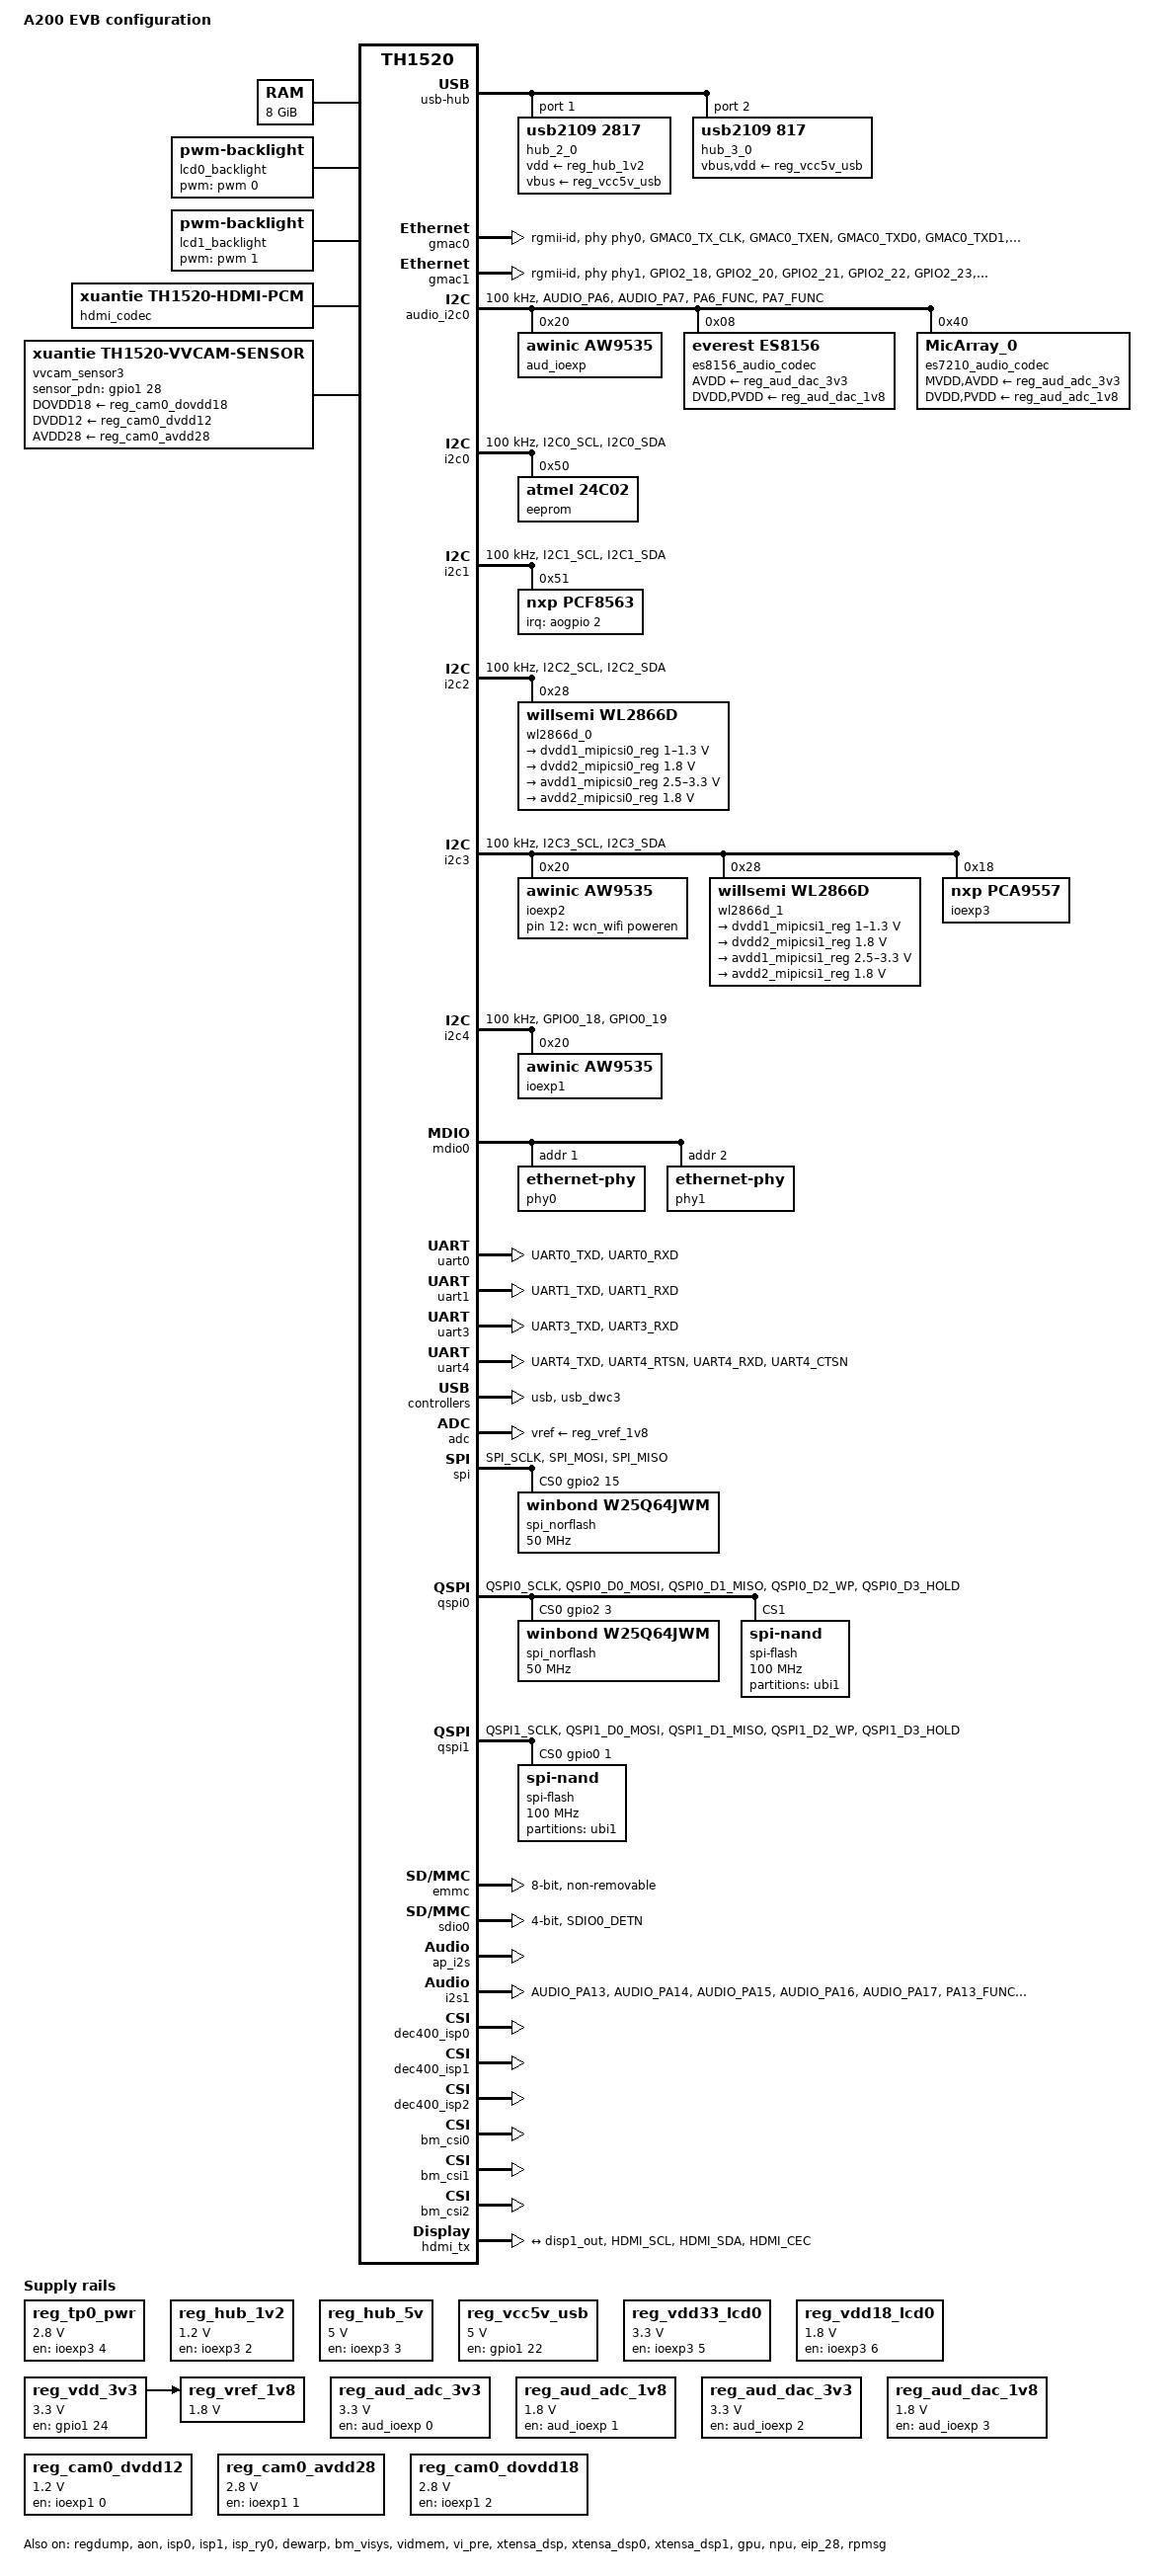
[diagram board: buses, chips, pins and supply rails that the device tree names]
/dts-v1/;

#include "th1520.dtsi"
#include <dt-bindings/gpio/gpio.h>
#include <dt-bindings/input/linux-event-codes.h>

/ {
	model = "A200 EVB configuration";
	compatible = "sipeed,lichee-pi-4a", "sipeed,lichee-module-4a", "thead,th1520", "thead,light", "zhihe,a200-evb";

	aliases {
		vivcam3 = &vvcam_sensor3;
		viv_video2 =  &video2;
		viv_video3 =  &video3;
	};

	chosen {
		stdout-path = "serial0:115200n8";
	};

	memory@0 {
		device_type = "memory";
		reg = <0x0 0x200000 0x1 0xffe00000>;
	};

	lcd0_backlight: pwm-backlight@0 {
		compatible = "pwm-backlight";
		pinctrl-names = "default";
		pinctrl-0 = <&lcd0_bl_pins>;
		pwms = <&pwm 0 5000000 0>;
		brightness-levels = <0 4 8 16 32 64 128 255>;
		default-brightness-level = <7>;
	};

	lcd1_backlight: pwm-backlight@1 {
		compatible = "pwm-backlight";
		pinctrl-names = "default";
		pinctrl-0 = <&lcd1_bl_pins>;
		pwms = <&pwm 1 5000000 0>;
		brightness-levels = <0 4 8 16 32 64 128 255>;
		default-brightness-level = <7>;
	};

	th1520_iopmp: iopmp {
		compatible = "xuantie,th1520-iopmp";

		/* config#1: multiple valid regions */
		iopmp_emmc: IOPMP_EMMC {
			attr = <0xFFFFFFFF>;
			is_default_region;
		};

		/* config#2: iopmp bypass */
		iopmp_sdio0: IOPMP_SDIO0 {
			bypass_en;
		};

		/* config#3: iopmp default region set */
		iopmp_sdio1: IOPMP_SDIO1 {
			attr = <0xFFFFFFFF>;
			is_default_region;
		};

		iopmp_usb0: IOPMP_USB0 {
			attr = <0xFFFFFFFF>;
			is_default_region;
		};

		iopmp_ao: IOPMP_AO {
			is_default_region;
		};

		iopmp_aud: IOPMP_AUD {
			is_default_region;
		};

		iopmp_chip_dbg: IOPMP_CHIP_DBG {
			is_default_region;
		};

		iopmp_eip120i: IOPMP_EIP120I {
			is_default_region;
		};

		iopmp_eip120ii: IOPMP_EIP120II {
			is_default_region;
		};

		iopmp_eip120iii: IOPMP_EIP120III {
			is_default_region;
		};

		iopmp_isp0: IOPMP_ISP0 {
			is_default_region;
		};

		iopmp_isp1: IOPMP_ISP1 {
			is_default_region;
		};

		iopmp_dw200: IOPMP_DW200 {
			is_default_region;
		};

		iopmp_vipre: IOPMP_VIPRE {
			is_default_region;
		};

		iopmp_venc: IOPMP_VENC {
			is_default_region;
		};

		iopmp_vdec: IOPMP_VDEC {
			is_default_region;
		};

		iopmp_g2d: IOPMP_G2D {
			is_default_region;
		};

		iopmp_fce: IOPMP_FCE {
			is_default_region;
		};

		iopmp_npu: IOPMP_NPU {
			is_default_region;
		};

		iopmp0_dpu: IOPMP0_DPU {
			bypass_en;
		};

		iopmp1_dpu: IOPMP1_DPU {
			bypass_en;
		};

		iopmp_gpu: IOPMP_GPU {
			is_default_region;
		};

		iopmp_gmac1: IOPMP_GMAC1 {
			is_default_region;
		};

		iopmp_gmac2: IOPMP_GMAC2 {
			is_default_region;
		};

		iopmp_dmac: IOPMP_DMAC {
			is_default_region;
		};

		iopmp_tee_dmac: IOPMP_TEE_DMAC {
			is_default_region;
		};

		iopmp_dsp0: IOPMP_DSP0 {
			is_default_region;
		};

		iopmp_dsp1: IOPMP_DSP1 {
			is_default_region;
		};
	};

	pmp_sec_regions: pmp-sec-regions {
		compatible = "xuantie,th1520-pmp";
		#address-cells = <2>;
		#size-cells = <2>;

		trust_firmware_region:  tf-region {
			reg = <0x00 0x00 0x00 0x200000>;
		};

		tee_os_region: tee-os-region {
			reg = <0x00 0xFF000000 0x00 0x1000000>;
		};

		tee_sys_region: tee-sys-region {
			reg = <0xFF 0xFF200000 0x00 0x100000>;
		};

		other_sys_region: other-sys-region {
			reg = <0xFF 0xFF400000 0x00 0xC00000>;
		};
	};

	reg_tp0_pwr: regulator-tp0-pwr {
		compatible = "regulator-fixed";
		regulator-name = "tp0-pwr";
		regulator-min-microvolt = <2800000>;
		regulator-max-microvolt = <2800000>;
		gpio = <&ioexp3 4 GPIO_ACTIVE_HIGH>;
		enable-active-high;
		regulator-always-on;
	};

	reg_hub_1v2: regulator-hub-1v2 {
		compatible = "regulator-fixed";
		regulator-name = "HUB_1V2";
		regulator-min-microvolt = <1200000>;
		regulator-max-microvolt = <1200000>;
		gpio = <&ioexp3 2 GPIO_ACTIVE_HIGH>;
		enable-active-high;
		regulator-always-on;
	};

	reg_hub_5v: regulator-hub-5v {
		compatible = "regulator-fixed";
		regulator-name = "HUB_5V";
		regulator-min-microvolt = <5000000>;
		regulator-max-microvolt = <5000000>;
		gpio = <&ioexp3 3 GPIO_ACTIVE_HIGH>;
		enable-active-high;
		regulator-always-on;
	};

	reg_vcc5v_usb: regulator-vcc5v-usb {
		compatible = "regulator-fixed";
		regulator-name = "VCC5V_USB";
		regulator-min-microvolt = <5000000>;
		regulator-max-microvolt = <5000000>;
		gpio = <&gpio1 22 GPIO_ACTIVE_HIGH>;
		enable-active-high;
		regulator-always-on;
	};

	reg_vdd33_lcd0: regulator-vdd33-lcd0 {
		compatible = "regulator-fixed";
		regulator-name = "lcd0_vdd33";
		regulator-min-microvolt = <3300000>;
		regulator-max-microvolt = <3300000>;
		gpio = <&ioexp3 5 GPIO_ACTIVE_HIGH>;
		enable-active-high;
	};

	reg_vdd18_lcd0: regulator-vdd18-lcd0 {
		compatible = "regulator-fixed";
		regulator-name = "lcd0_vdd18";
		regulator-min-microvolt = <1800000>;
		regulator-max-microvolt = <1800000>;
		gpio = <&ioexp3 6 GPIO_ACTIVE_HIGH>;
		enable-active-high;
	};

	reg_vdd_3v3: regulator-vdd-3v3 {
		compatible = "regulator-fixed";
		regulator-name = "vdd_3v3";
		regulator-min-microvolt = <3300000>;
		regulator-max-microvolt = <3300000>;
		gpio = <&gpio1 24 GPIO_ACTIVE_HIGH>;
		enable-active-high;
		regulator-boot-on;
		regulator-always-on;
	};

	reg_vref_1v8: regulator-adc-verf {
		compatible = "regulator-fixed";
		regulator-name = "vref-1v8";
		regulator-min-microvolt = <1800000>;
		regulator-max-microvolt = <1800000>;
		regulator-always-on;
		vin-supply = <&reg_vdd_3v3>;
	};

	reg_aud_adc_3v3: regulator-aud-adc-3v3 {
		compatible = "regulator-fixed";
		regulator-name = "aud_adc_3v3";
		regulator-min-microvolt = <3300000>;
		regulator-max-microvolt = <3300000>;
		gpio = <&aud_ioexp 0 GPIO_ACTIVE_HIGH>;
		enable-active-high;
		regulator-always-on;
	};

	reg_aud_adc_1v8: regulator-aud-adc-1v8 {
		compatible = "regulator-fixed";
		regulator-name = "aud_adc_1v8";
		regulator-min-microvolt = <1800000>;
		regulator-max-microvolt = <1800000>;
		gpio = <&aud_ioexp 1 GPIO_ACTIVE_HIGH>;
		enable-active-high;
		regulator-always-on;
	};

	reg_aud_dac_3v3: regulator-aud-dac-3v3 {
		compatible = "regulator-fixed";
		regulator-name = "aud_dac_3v3";
		regulator-min-microvolt = <3300000>;
		regulator-max-microvolt = <3300000>;
		gpio = <&aud_ioexp 2 GPIO_ACTIVE_HIGH>;
		enable-active-high;
		regulator-always-on;
	};

	reg_aud_dac_1v8: regulator-aud-dac-1v8 {
		compatible = "regulator-fixed";
		regulator-name = "aud_dac_1v8";
		regulator-min-microvolt = <1800000>;
		regulator-max-microvolt = <1800000>;
		gpio = <&aud_ioexp 3 GPIO_ACTIVE_HIGH>;
		enable-active-high;
		regulator-always-on;
	};

	reg_cam0_dvdd12: regulator-cam0-dvdd12 {
		compatible = "regulator-fixed";
		regulator-name = "dvdd12_cam0";
		regulator-min-microvolt = <1200000>;
		regulator-max-microvolt = <1200000>;
		gpio = <&ioexp1 0 GPIO_ACTIVE_HIGH>;
		enable-active-high;
	};

	reg_cam0_avdd28: regulator-cam0-avdd28 {
		compatible = "regulator-fixed";
		regulator-name = "avdd28_cam0";
		regulator-min-microvolt = <2800000>;
		regulator-max-microvolt = <2800000>;
		gpio = <&ioexp1 1 GPIO_ACTIVE_HIGH>;
		enable-active-high;
	};

	reg_cam0_dovdd18: regulator-cam0-dovdd18 {
		compatible = "regulator-fixed";
		regulator-name = "dovdd18_cam0";
		regulator-min-microvolt = <2800000>;
		regulator-max-microvolt = <2800000>;
		gpio = <&ioexp1 2 GPIO_ACTIVE_HIGH>;
		enable-active-high;
	};

	mbox_910t_client2: mbox_910t_client2 {
		compatible = "xuantie,th1520-mbox-client";
		mbox-names = "906";
		mboxes = <&mbox_910t 2 0>;
		audio-mbox-regmap = <&audio_mbox>;
		status = "okay";
	};

	th1520_rpmsg: th1520_rpmsg {
		compatible = "th1520,rpmsg-bus", "simple-bus";
		memory-region = <&rpmsgmem>;
		#address-cells = <2>;
		#size-cells = <2>;
		ranges;
		rpmsg: rpmsg{
			vdev-nums = <1>;
            reg = <0x0 0x1E000000 0 0x10000>;
			compatible = "th1520,th1520-rpmsg";
			log-memory-region = <&audio_log_mem>;
			audio-text-memory-region = <&audio_text_mem>;
			status = "okay";
		};
	};

	hdmi_codec: hdmi_codec@1 {
		#sound-dai-cells = <0>;
		compatible = "xuantie,th1520-hdmi-pcm";
		sound-name-prefix = "DUMMY";
		status = "okay";
	};

	th1520_sound: soundcard@1 {
		compatible = "simple-audio-card";
		simple-audio-card,name = "TH1520-Sound-Card";
		#address-cells = <1>;
		#size-cells = <0>;

		simple-audio-card,dai-link@0 {          /* I2S - HDMI*/
			reg = <0>;
			format = "i2s";
			cpu {
				sound-dai = <&ap_i2s 1>;
			};
			codec {
				sound-dai = <&hdmi_codec>;
			};
		};
		simple-audio-card,dai-link@1 {          /* I2S - AUDIO SYS CODEC 7210*/
			reg = <1>;
			format = "i2s";
			cpu {
				sound-dai = <&i2s1 0>;
			};
			codec {
				sound-dai = <&es7210_audio_codec>;
			};
		};
		simple-audio-card,dai-link@2 {          /* I2S - AUDIO SYS CODEC 8156*/
			reg = <2>;
			format = "i2s";
			cpu {
				sound-dai = <&i2s1 0>;
			};
			codec {
				sound-dai = <&es8156_audio_codec>;
			};
		};
	};

	usb-hub {
		#address-cells = <1>;
		#size-cells = <0>;
		status = "okay";

		hub_2_0: hub@1 {
			compatible = "usb2109,2817";
			reg = <1>;
			peer-hub = <&hub_3_0>;
			vdd-supply = <&reg_hub_1v2>;
			vbus-supply = <&reg_vcc5v_usb>;
		};

		hub_3_0: hub@2 {
			compatible = "usb2109,817";
			reg = <2>;
			peer-hub = <&hub_2_0>;
			vbus-supply = <&reg_vcc5v_usb>;
			vdd-supply  = <&reg_vcc5v_usb>;
		};
	};

	wcn_wifi: wireless-wlan {
		compatible = "wlan-platdata";
		pinctrl-names = "default";
		pinctrl-0 = <&wifi_wake_pins>;
		WIFI,poweren-gpios = <&ioexp2 12 0>;
		power_on_after_init;
		power_on_when_resume;
		status = "okay";
	};

	gpio-keys {
		/* ONKEY/SYS_RST_N */
		key1 {
			label = "Key1";
			//wakeup-source;
			linux,code = <KEY_MACRO1>;
			debounce-interval = <1>;
			gpios = <&aogpio 4 GPIO_ACTIVE_LOW>;
		};
		key2 {
			label = "Key2";
			//wakeup-source;
			linux,code = <KEY_MACRO2>;
			debounce-interval = <1>;
			gpios = <&aogpio 5 GPIO_ACTIVE_LOW>;
		};
	};

	soc {
		compatible = "simple-bus";
		interrupt-parent = <&plic>;
		#address-cells = <2>;
		#size-cells = <2>;
		dma-noncoherent;
		ranges;

		vvcam_sensor3: vvcam_sensor@3 {//cam3 csi0 modified
			sensor_name = "OV5693";
			compatible = "xuantie,th1520-vvcam-sensor";
			sensor_pdn = <&gpio1 28 0>; //powerdown pin / shutdown pin
			sensor_rst = <&ioexp2 1 0>;
			sensor_pdn_delay_us = <4000>; //powerdown pin / shutdown pin activated till I2C ready
			sensor_regulators = "DOVDD18", "DVDD12", "AVDD28";
			sensor_regulator_timing_us = <70 50 20>;
			DOVDD18-supply = <&reg_cam0_dovdd18>;
			DVDD12-supply = <&reg_cam0_dvdd12>;
			AVDD28-supply = <&reg_cam0_avdd28>;
			i2c_reg_width = /bits/ 8 <2>;
			i2c_data_width = /bits/ 8 <1>;
			i2c_addr = /bits/ 8 <0x36>;
			i2c_bus = /bits/ 8 <0>;
			status = "okay";
		};

		video2: cam_dev@300 {
			compatible = "xuantie,th1520-video";
			vi_mem_pool_region = <0>;	// vi_mem: framebuffer, region[0]
			status = "okay";
			channel0 {
				channel_id = <0>;
				status = "okay";
				sensor1 {
					subdev_name = "vivcam";
					idx = <3>;
					csi_idx = <0>;
					mode_idx = <1>;
					path_type = "SENSOR_2592x1944_LINER";
				};
				dma {
					subdev_name = "vipre";
					idx = <0>;
					path_type = "VIPRE_CSI0_ISP1";
				};
				isp {
					subdev_name = "isp";
					idx = <1>;
					path_type = "ISP_MI_PATH_MP";
					output {
						max_width = <2600>;
						max_height = <2000>;
						bit_per_pixel = <12>;
						frame_count = <3>;
					};
				};
			};
			channel1 {
				sensor1 {
					subdev_name = "vivcam";
					idx = <3>;
					csi_idx = <0>;
					mode_idx = <1>;
					path_type = "SENSOR_2592x1944_LINER";
				};
				dma {
					subdev_name = "vipre";
					idx = <0>;
					path_type = "VIPRE_CSI0_ISP1";
				};
				isp {
					subdev_name = "isp";
					idx = <1>;
					path_type = "ISP_MI_PATH_SP";
					output {
						max_width = <2600>;
						max_height = <2000>;
						bit_per_pixel = <12>;
						frame_count = <3>;
					};
				};
			};
			channel2 {
				sensor1 {
					subdev_name = "vivcam";
					idx = <3>;
					csi_idx = <0>;
					mode_idx = <1>;
					path_type = "SENSOR_2592x1944_LINER";
				};
				dma {
					subdev_name = "vipre";
					idx = <0>;
					path_type = "VIPRE_CSI0_ISP1";
				};
				isp {
					subdev_name = "isp";
					idx = <1>;
					path_type = "ISP_MI_PATH_SP2_BP";
					output {
						max_width = <2600>;
						max_height = <2000>;
						bit_per_pixel = <12>;
						frame_count = <3>;
					};
				};
			};
		};

		video3: cam_dev@400{
			compatible = "xuantie,th1520-video";
			vi_mem_pool_region = <0>;	// vi_mem: framebuffer, region[0]
			status = "okay";
			channel0 {
				sensor1 {
					subdev_name = "vivcam";
					idx = <3>;
					csi_idx = <0>;
					mode_idx = <1>;
					path_type = "SENSOR_2592x1944_LINER";
				};
				dma {
					subdev_name = "vipre";
					idx = <0>;
					path_type = "VIPRE_CSI0_ISP1";

				};
				isp {
					subdev_name = "isp";
					idx = <1>;
					path_type = "ISP_MI_PATH_MP";
					output {
						max_width = <2600>;
						max_height = <2000>;
						bit_per_pixel = <12>;
						frame_count = <3>;
					};
				};
				dw {
					subdev_name = "dw";
					idx = <0>;
					path_type = "DW_DWE_VSE0";
					dw_dst_depth = <2>;
				};
			};
			channel1 {
				sensor1 {
					subdev_name = "vivcam";
					idx = <3>;
					csi_idx = <0>;
					mode_idx = <1>;
					path_type = "SENSOR_2592x1944_LINER";
				};
				dma {
					subdev_name = "vipre";
					idx = <0>;
					path_type = "VIPRE_CSI0_ISP1";

				};
				isp {
					subdev_name = "isp";
					idx = <1>;
					path_type = "ISP_MI_PATH_MP";
					output {
						max_width = <2600>;
						max_height = <2000>;
						bit_per_pixel = <12>;
						frame_count = <3>;
					};
				};
				dw {
					subdev_name = "dw";
					idx = <0>;
					path_type = "DW_DWE_VSE1";
					dw_dst_depth = <2>;
				};
			};
			channel2 {
				sensor1 {
					subdev_name = "vivcam";
					idx = <3>;
					csi_idx = <0>;
					mode_idx = <1>;
					path_type = "SENSOR_2592x1944_LINER";
				};
				dma {
					subdev_name = "vipre";
					idx = <0>;
					path_type = "VIPRE_CSI0_ISP1";

				};
				isp {
					subdev_name = "isp";
					idx = <1>;
					path_type = "ISP_MI_PATH_MP";
					output {
						max_width = <2600>;
						max_height = <2000>;
						bit_per_pixel = <12>;
						frame_count = <3>;
					};
				};
				dw {
					subdev_name = "dw";
					idx = <0>;
					path_type = "DW_DWE_VSE2";
					dw_dst_depth = <2>;
				};
			};
		};
	};
};

&cpus {
	c910_0: cpu@0 {
		dvdd-supply = <&dvdd_cpu_reg>;
		dvddm-supply = <&dvddm_cpu_reg>;

		operating-points = <
			/* kHz    uV */
			300000  600000
			400000  700000
			500000  700000
			600000  700000
			702000  700000
			800000  700000
			900000  800000
			1000000 800000
			1104000 800000
			1200000 800000
			1296000 800000
			1404000 800000
			1500000 800000
			1608000 1000000
			1704000 1000000
			1848000 1000000
		>;
		th1520,dvddm-operating-points = <
			/* kHz   uV */
			300000  800000
			400000  800000
			500000  800000
			600000  800000
			702000  800000
			800000  800000
			900000  800000
			1000000 800000
			1104000 800000
			1200000 800000
			1296000 800000
			1404000 800000
			1500000 800000
			1608000 1000000
			1704000 1000000
			1848000 1000000
		>;
	};
	c910_1: cpu@1 {
		dvdd-supply = <&dvdd_cpu_reg>;
		dvddm-supply = <&dvddm_cpu_reg>;

		operating-points = <
			/* kHz    uV */
			300000  600000
			400000  700000
			500000  700000
			600000  700000
			702000  700000
			800000  700000
			900000  800000
			1000000 800000
			1104000 800000
			1200000 800000
			1296000 800000
			1404000 800000
			1500000 800000
			1608000 1000000
			1704000 1000000
			1848000 1000000
		>;
		th1520,dvddm-operating-points = <
			/* kHz   uV */
			300000  800000
			400000  800000
			500000  800000
			600000  800000
			702000  800000
			800000  800000
			900000  800000
			1000000 800000
			1104000 800000
			1200000 800000
			1296000 800000
			1404000 800000
			1500000 800000
			1608000 1000000
			1704000 1000000
			1848000 1000000
		>;
	};
	c910_2: cpu@2 {
		dvdd-supply = <&dvdd_cpu_reg>;
		dvddm-supply = <&dvddm_cpu_reg>;

		operating-points = <
			/* kHz    uV */
			300000  600000
			400000  700000
			500000  700000
			600000  700000
			702000  700000
			800000  700000
			900000  800000
			1000000 800000
			1104000 800000
			1200000 800000
			1296000 800000
			1404000 800000
			1500000 800000
			1608000 1000000
			1704000 1000000
			1848000 1000000
		>;
		th1520,dvddm-operating-points = <
			/* kHz   uV */
			300000  800000
			400000  800000
			500000  800000
			600000  800000
			702000  800000
			800000  800000
			900000  800000
			1000000 800000
			1104000 800000
			1200000 800000
			1296000 800000
			1404000 800000
			1500000 800000
			1608000 1000000
			1704000 1000000
			1848000 1000000
		>;
	};
	c910_3: cpu@3 {
		dvdd-supply = <&dvdd_cpu_reg>;
		dvddm-supply = <&dvddm_cpu_reg>;

		operating-points = <
			/* kHz    uV */
			300000  600000
			400000  700000
			500000  700000
			600000  700000
			702000  700000
			800000  700000
			900000  800000
			1000000 800000
			1104000 800000
			1200000 800000
			1296000 800000
			1404000 800000
			1500000 800000
			1608000 1000000
			1704000 1000000
			1848000 1000000
		>;
		th1520,dvddm-operating-points = <
			/* kHz   uV */
			300000  800000
			400000  800000
			500000  800000
			600000  800000
			702000  800000
			800000  800000
			900000  800000
			1000000 800000
			1104000 800000
			1200000 800000
			1296000 800000
			1404000 800000
			1500000 800000
			1608000 1000000
			1704000 1000000
			1848000 1000000
		>;
	};
};

&resmem {
	#address-cells = <2>;
	#size-cells = <2>;
	ranges;

	/* global autoconfigured region for contiguous allocations */
	cmamem: linux,cma {
		compatible = "shared-dma-pool";
		reusable;
		size = <0 0x30000000>; // 768MB on lpi4a (SOM)
		alloc-ranges = <0 0xc8000000 0 0x30000000>; // [0x0C800_0000 ~ 0x0F800_0000]    linux,cma-default;
		linux,cma-default;
	};
	dsp0_mem: memory@20000000 {             /**0x2000_0000~0x2040_0000 4M**/
		reg = <0x0 0x20000000 0x0 0x00280000   /* DSP FW code&data section 2.5M*/
			0x0 0x20280000 0x0 0x00001000   /* DSP communication area 4K*/
			0x0 0x20281000 0x0 0x00007000  /* Panic/log page 28K */
			0x0 0x20288000 0x0 0x00178000>;  /* DSP shared memory 1.5M-32K*/
		};
	dsp1_mem: memory@20400000 {             /**0x2040_0000~0x2080_0000 4M**/
		reg = <0x0 0x20400000 0x0 0x00280000  /* DSP FW code&data section */
			0x0 0x20680000 0x0 0x00001000 /* DSP communication area */
			0x0 0x20681000 0x0 0x00007000    /* Panic/log page*/
			0x0 0x20688000 0x0 0x00178000>;  /* DSP shared memory */
		};
	vi_mem: framebuffer@10000000 {
		reg = <0x0 0x10000000 0x0 0x6700000>;	/* vi_mem_pool_region[0]  44 MB (default) */
			//0x0 0x12C00000 0x0 0x01D00000	/* vi_mem_pool_region[1]  29 MB */
			//0x0 0x14900000 0x0 0x01E00000>;	/* vi_mem_pool_region[2]  30 MB */
		};

	audio_text_mem: memory@32000000 {
		reg = <0x0 0x32000000 0x0 0xE00000>;
		//no-map;
	};
	audio_data_mem: memory@32E00000 {
		reg = <0x0 0x32E00000 0x0 0x600000>;
		//no-map;
	};
	audio_log_mem: memory@33400000 {
        reg = <0x0 0x33400000 0x0 0x200000>;
	};
	//Note: with "no-map" reserv mem not saved in hibernation
	rpmsgmem: memory@1E000000 {
		reg = <0x0 0x1E000000 0x0 0x10000>;
	};
	aon_log_mem: memory@33600000 {
        reg = <0x0 0x33600000 0x0 0x200000>;
	};
	regdump_mem: memory@38400000 {
		reg = <0x0 0x38400000 0x0 0x1400000>;
		no-map;
	};
};

&regdump {
	memory-region = <&regdump_mem>;
	status = "okay";
};

&osc {
	clock-frequency = <24000000>;
};

&osc_32k {
	clock-frequency = <32768>;
};

&rc_24m {
	clock-frequency = <24000000>;
};

&aonsys_clk {
	clock-frequency = <73728000>;
};

&audiosys_clk {
	clock-frequency = <294912000>;
};

&apb_clk {
	clock-frequency = <62500000>;
};

&sdhci_clk {
	clock-frequency = <198000000>;
};

&uart_sclk {
	clock-frequency = <100000000>;
};

&gmac_clk {
	clock-frequency = <500000000>;
};

&gmac_axi_clk {
	clock-frequency = <100000000>;
};

&aon {
    log-memory-region = <&aon_log_mem>;
	status = "okay";

	dvdd_cpu_reg: appcpu_dvdd {
		compatible = "thead,th1520-aon-pmic";
		regulator-name = "appcpu_dvdd";
		regulator-min-microvolt = <300000>;
		regulator-max-microvolt = <1570000>;
		regulator-type = "dvdd";
		regulator-boot-on;
		regulator-always-on;
	};

	dvddm_cpu_reg: appcpu_dvddm {
		compatible = "thead,th1520-aon-pmic";
		regulator-name = "appcpu_dvddm";
		regulator-min-microvolt = <300000>;
		regulator-max-microvolt = <1570000>;
		regulator-type = "dvddm";
		regulator-dual-rail;
		regulator-boot-on;
		regulator-always-on;
	};

	soc_dvdd18_aon_reg: soc_dvdd18_aon {
		compatible = "thead,th1520-aon-pmic";
		regulator-name = "soc_dvdd18_aon";
		regulator-type = "common";
		regulator-boot-on;
		regulator-always-on;
	};

	soc_avdd33_usb3_reg: soc_avdd33_usb3 {
		compatible = "thead,th1520-aon-pmic";
		regulator-name = "soc_avdd33_usb3";
		regulator-type = "common";
		regulator-boot-on;
		regulator-always-on;
	};

	soc_dvdd08_aon_reg: soc_dvdd08_aon {
		compatible = "thead,th1520-aon-pmic";
		regulator-name = "soc_dvdd08_aon";
		regulator-type = "common";
		regulator-boot-on;
		regulator-always-on;
	};

	soc_dvdd08_ddr_reg: soc_dvdd08_ddr {
		compatible = "thead,th1520-aon-pmic";
		regulator-name = "soc_dvdd08_ddr";
		regulator-type = "common";
		regulator-boot-on;
		regulator-always-on;
	};

	soc_vdd_ddr_1v8_reg: soc_vdd_ddr_1v8 {
		compatible = "thead,th1520-aon-pmic";
		regulator-name = "soc_vdd_ddr_1v8";
		regulator-type = "common";
		regulator-boot-on;
		regulator-always-on;
	};

	soc_vdd_ddr_1v1_reg: soc_vdd_ddr_1v1 {
		compatible = "thead,th1520-aon-pmic";
		regulator-name = "soc_vdd_ddr_1v1";
		regulator-type = "common";
		regulator-boot-on;
		regulator-always-on;
	};

	soc_vdd_ddr_0v6_reg: soc_vdd_ddr_0v6 {
		compatible = "thead,th1520-aon-pmic";
		regulator-name = "soc_vdd_ddr_0v6";
		regulator-type = "common";
		regulator-boot-on;
		regulator-always-on;
	};

	soc_dvdd18_ap_reg: soc_dvdd18_ap {
		compatible = "thead,th1520-aon-pmic";
		regulator-name = "soc_dvdd18_ap";
		regulator-type = "common";
		regulator-boot-on;
		regulator-always-on;
	};

	soc_dvdd08_ap_reg: soc_dvdd08_ap {
		compatible = "thead,th1520-aon-pmic";
		regulator-name = "soc_dvdd08_ap";
		regulator-type = "common";
		regulator-boot-on;
		regulator-always-on;
	};

	soc_avdd08_mipi_hdmi_reg: soc_avdd08_mipi_hdmi {
		compatible = "thead,th1520-aon-pmic";
		regulator-name = "soc_avdd08_mipi_hdmi";
		regulator-type = "common";
		regulator-boot-on;
		regulator-always-on;
	};

	soc_avdd18_mipi_hdmi_reg: soc_avdd18_mipi_hdmi {
		compatible = "thead,th1520-aon-pmic";
		regulator-name = "soc_avdd18_mipi_hdmi";
		regulator-type = "common";
		regulator-boot-on;
		regulator-always-on;
	};

	soc_vdd33_emmc_reg: soc_vdd33_emmc {
		compatible = "thead,th1520-aon-pmic";
		regulator-name = "soc_dvdd33_emmc";
		regulator-type = "common";
		regulator-boot-on;
		regulator-always-on;
	};

	soc_vdd18_emmc_reg: soc_vdd18_emmc {
		compatible = "thead,th1520-aon-pmic";
		regulator-name = "soc_dvdd18_emmc";
		regulator-type = "gpio";
		regulator-boot-on;
		regulator-always-on;
	};

	soc_dovdd18_scan_reg: soc_dovdd18_scan {
		compatible = "thead,th1520-aon-pmic";
		regulator-name = "soc_dovdd18_scan";
		regulator-type = "common";
		regulator-min-microvolt = <900000>;
		regulator-max-microvolt = <3600000>;
	};

	soc_dvdd12_scan_reg: soc_dvdd12_scan {
		compatible = "thead,th1520-aon-pmic";
		regulator-name = "soc_dvdd12_scan";
		regulator-type = "common";
		regulator-min-microvolt = <900000>;
		regulator-max-microvolt = <3600000>;
	};

	soc_avdd28_scan_en_reg: soc_avdd28_scan_en {
		compatible = "thead,th1520-aon-pmic";
		regulator-name = "soc_avdd28_scan_en";
		regulator-type = "common";
		regulator-min-microvolt = <900000>;
		regulator-max-microvolt = <3600000>;
	};
};

&padctrl0_apsys {
	lcd0_bl_pins: bl-0 {
		pwm0-pins {
			pins = "GPIO3_2"; /* PWM0 */
			function = "pwm";
			bias-disable;
			drive-strength = <25>;
			input-disable;
			input-schmitt-disable;
			slew-rate = <0>;
		};
	};
	lcd1_bl_pins: bl-1 {
		pwm1-pins {
			pins = "GPIO3_3"; /* PWM1 */
			function = "pwm";
			bias-disable;
			drive-strength = <25>;
			input-disable;
			input-schmitt-disable;
			slew-rate = <0>;
		};
	};
	gmac0_pins: gmac0-0 {
		tx-pins {
			pins = "GMAC0_TX_CLK",
					"GMAC0_TXEN",
					"GMAC0_TXD0",
					"GMAC0_TXD1",
					"GMAC0_TXD2",
					"GMAC0_TXD3";
			function = "gmac0";
			bias-disable;
			drive-strength = <25>;
			input-disable;
			input-schmitt-disable;
			slew-rate = <0>;
		};

		rx-pins {
			pins = "GMAC0_RX_CLK",
					"GMAC0_RXDV",
					"GMAC0_RXD0",
					"GMAC0_RXD1",
					"GMAC0_RXD2",
					"GMAC0_RXD3";
			function = "gmac0";
			bias-disable;
			drive-strength = <1>;
			input-enable;
			input-schmitt-disable;
			slew-rate = <0>;
		};
	};

	gmac1_pins: gmac1-0 {
		tx-pins {
			pins = "GPIO2_18", /* GMAC1_TX_CLK */
					"GPIO2_20", /* GMAC1_TXEN */
					"GPIO2_21", /* GMAC1_TXD0 */
					"GPIO2_22", /* GMAC1_TXD1 */
					"GPIO2_23", /* GMAC1_TXD2 */
					"GPIO2_24"; /* GMAC1_TXD3 */
			function = "gmac1";
			bias-disable;
			drive-strength = <25>;
			input-disable;
			input-schmitt-disable;
			slew-rate = <0>;
		};

		rx-pins {
			pins = "GPIO2_19", /* GMAC1_RX_CLK */
					"GPIO2_25", /* GMAC1_RXDV */
					"GPIO2_30", /* GMAC1_RXD0 */
					"GPIO2_31", /* GMAC1_RXD1 */
					"GPIO3_0",  /* GMAC1_RXD2 */
					"GPIO3_1";  /* GMAC1_RXD3 */
			function = "gmac1";
			bias-disable;
			drive-strength = <1>;
			input-enable;
			input-schmitt-disable;
			slew-rate = <0>;
		};
	};

	sdio0_pins: sdio0-0 {
		detn-pins {
			pins = "SDIO0_DETN";
			function = "sdio";
			bias-disable;
			drive-strength = <1>;
			input-enable;
			input-schmitt-enable;
			slew-rate = <0>;
		};
	};

	i2c2_pins: i2c2-0 {
		i2c-pins {
			pins = "I2C2_SCL", "I2C2_SDA";
			function = "i2c";
			bias-disable;
			drive-strength = <7>;
			input-enable;
			input-schmitt-enable;
			slew-rate = <0>;
		};
	};

	i2c3_pins: i2c3-0 {
		i2c-pins {
			pins = "I2C3_SCL", "I2C3_SDA";
			function = "i2c";
			bias-disable;
			drive-strength = <7>;
			input-enable;
			input-schmitt-enable;
			slew-rate = <0>;
		};
	};

	mdio0_pins: mdio0-0 {
		mdc-pins {
			pins = "GMAC0_MDC";
			function = "gmac0";
			bias-disable;
			drive-strength = <13>;
			input-disable;
			input-schmitt-disable;
			slew-rate = <0>;
		};

		mdio-pins {
			pins = "GMAC0_MDIO";
			function = "gmac0";
			bias-disable;
			drive-strength = <13>;
			input-enable;
			input-schmitt-enable;
			slew-rate = <0>;
		};
	};

	uart0_pins: uart0-0 {
		tx-pins {
			pins = "UART0_TXD";
			function = "uart";
			bias-disable;
			drive-strength = <3>;
			input-disable;
			input-schmitt-disable;
			slew-rate = <0>;
		};

		rx-pins {
			pins = "UART0_RXD";
			function = "uart";
			bias-disable;
			drive-strength = <1>;
			input-enable;
			input-schmitt-enable;
			slew-rate = <0>;
		};
	};

	spi_pins: spi-0 {
		spi-pins {
			pins = "SPI_SCLK", "SPI_MOSI", "SPI_MISO";
			function = "spi";
			bias-disable;
			drive-strength = <7>;
			input-enable;
			input-schmitt-enable;
			slew-rate = <0>;
		};
	};

	hdmi_tx_pins: hdmi-tx-0 {
		hdmi-pins {
			pins = "HDMI_SCL", "HDMI_SDA", "HDMI_CEC";
			function = "hdmi";
			bias-disable;
			drive-strength = <3>;
			input-enable;
			input-schmitt-disable;
			slew-rate = <0>;
		};
	};

	qspi0_pins: qspi0-0 {
		qspi-pins {
			pins = "QSPI0_SCLK", "QSPI0_D0_MOSI", "QSPI0_D1_MISO", "QSPI0_D2_WP", "QSPI0_D3_HOLD";
			function = "qspi";
			bias-disable;
			drive-strength = <7>;
			input-enable;
			input-schmitt-enable;
			slew-rate = <0>;
		};
	};
};

&padctrl1_apsys {
	i2c0_pins: i2c0-0 {
		i2c-pins {
			pins = "I2C0_SCL", "I2C0_SDA";
			function = "i2c";
			bias-disable;
			drive-strength = <7>;
			input-enable;
			input-schmitt-enable;
			slew-rate = <0>;
		};
	};

	i2c1_pins: i2c1-0 {
		i2c-pins {
			pins = "I2C1_SCL", "I2C1_SDA";
			function = "i2c";
			bias-disable;
			drive-strength = <7>;
			input-enable;
			input-schmitt-enable;
			slew-rate = <0>;
		};
	};

	i2c4_pins: i2c4-0 {
		i2c-pins {
			pins = "GPIO0_18", "GPIO0_19";
			function = "i2c";
			bias-disable;
			drive-strength = <7>;
			input-enable;
			input-schmitt-enable;
			slew-rate = <0>;
		};
	};

	qspi1_pins: qspi1-0 {
		qspi-pins {
			pins = "QSPI1_SCLK", "QSPI1_D0_MOSI", "QSPI1_D1_MISO", "QSPI1_D2_WP", "QSPI1_D3_HOLD";
			function = "qspi";
			bias-disable;
			drive-strength = <7>;
			input-enable;
			input-schmitt-enable;
			slew-rate = <0>;
		};
	};

	uart1_pins: uart1-0 {
		tx-pins {
			pins = "UART1_TXD";
			function = "uart";
			bias-disable;
			drive-strength = <3>;
			input-disable;
			input-schmitt-disable;
			slew-rate = <0>;
		};

		rx-pins {
			pins = "UART1_RXD";
			function = "uart";
			bias-disable;
			drive-strength = <1>;
			input-enable;
			input-schmitt-enable;
			slew-rate = <0>;
		};
	};

	uart3_pins: uart3-0 {
		tx-pins {
			pins = "UART3_TXD";
			function = "uart";
			bias-disable;
			drive-strength = <3>;
			input-disable;
			input-schmitt-disable;
			slew-rate = <0>;
		};

		rx-pins {
			pins = "UART3_RXD";
			function = "uart";
			bias-disable;
			drive-strength = <1>;
			input-enable;
			input-schmitt-enable;
			slew-rate = <0>;
		};
	};

	uart3_ir_pins: uart3-0 {
		tx-pins {
			pins = "GPIO0_20";
			function = "uart"; // uart_ir
			bias-disable;
			drive-strength = <3>;
			input-disable;
			input-schmitt-disable;
			slew-rate = <0>;
		};

		rx-pins {
			pins = "GPIO0_21";
			function = "uart"; // uart_ir
			bias-disable;
			drive-strength = <1>;
			input-enable;
			input-schmitt-enable;
			slew-rate = <0>;
		};
	};

	uart4_pins: uart4-0 {
		tx-pins {
			pins = "UART4_TXD", "UART4_RTSN";
			function = "uart";
			bias-disable;
			drive-strength = <3>;
			input-disable;
			input-schmitt-disable;
			slew-rate = <0>;
		};

		rx-pins {
			pins = "UART4_RXD", "UART4_CTSN";
			function = "uart";
			bias-disable;
			drive-strength = <1>;
			input-enable;
			input-schmitt-enable;
			slew-rate = <0>;
		};
	};

	wifi_wake_pins: wifi_grp {
		wifi-pins {
			pins = "GPIO0_25";
			function = "gpio";
			bias-disable;
			drive-strength = <7>;
			input-disable;
			input-schmitt-disable;
			slew-rate = <0>;
		};
	};
};

&padctrl_aosys {
	ao_i2c_pins: ao-i2c-0 {
		i2c-pins {
			pins = "I2C_AON_SCL", "I2C_AON_SDA";
			function = "i2c";
			bias-disable;
			drive-strength = <7>;
			input-enable;
			input-schmitt-disable;
			slew-rate = <0>;
		};
	};
	aud_uart_pa_pins: aud-uart-pa-0 {
		i2c-pa-pins {
			pins = "AOGPIO_12", "AOGPIO_13";
			function = "audio";
			bias-disable;
			drive-strength = <0>;
			slew-rate = <0>;
		};
	};
	i2s1_pa_pins: i2s1-pa-0 {
		i2s-pa-pins {
			pins = "AUDIO_PA13", "AUDIO_PA14", "AUDIO_PA15", "AUDIO_PA16", "AUDIO_PA17";
			function = "audio";
			bias-disable;
			drive-strength = <0>;
			slew-rate = <0>;
		};
	};
	aud_i2c0_pa_pins: aud-i2c0-pa-0 {
		aud-i2c-pa-pins {
			pins = "AUDIO_PA6", "AUDIO_PA7";
			function = "audio";
			bias-disable;
			drive-strength = <0>;
			slew-rate = <0>;
		};
	};
	rtc_pins: rtc {
		rtc-pins {
			pins = "CPU_JTG_TCLK";
			function = "gpio";
			bias-disable;
			drive-strength = <13>;
			input-enable;
			input-schmitt-disable;
			slew-rate = <0>;
		};
	};

	/* E902 Debug port */
	aouart_pins: aouart-0 {
		tx-pins {
			pins = "AOGPIO_8";
			function = "uart";
			bias-disable;
			drive-strength = <3>;
			input-disable;
			input-schmitt-disable;
			slew-rate = <0>;
		};
		rx-pins {
			pins = "AOGPIO_9";
			function = "uart";
			bias-disable;
			drive-strength = <1>;
			input-enable;
			input-schmitt-enable;
			slew-rate = <0>;
		};
	};
};

&padctrl_audiosys {
	aud_i2c0_pins: aud-i2c0-0 {
		i2c-pins {
			pins = "PA6_FUNC", "PA7_FUNC";
			function = "aud_i2c0";
			bias-disable;
			drive-strength = <7>;
			input-schmitt-disable;
			slew-rate = <0>;
		};
	};

	i2s1_pins: i2s1-0 {
		i2s-pins {
			pins = "PA13_FUNC", "PA14_FUNC", "PA15_FUNC", "PA16_FUNC", "PA17_FUNC";
			function = "aud_i2s1";
			bias-disable;
			drive-strength = <13>;
			input-schmitt-disable;
			slew-rate = <0>;
		};
	};

	/* C906 Debug port */
	aud_uart_pins: aud-uart-0 {
		tx-pins {
			pins = "PA23_FUNC";
			function = "uart";
			bias-disable;
			drive-strength = <12>;
			input-schmitt-disable;
			slew-rate = <0>;
		};
		rx-pins {
			pins = "PA24_FUNC";
			function = "uart";
			bias-disable;
			drive-strength = <0>;
			input-schmitt-disable;
			slew-rate = <0>;
		};
	};
};

&gmac0 {
	pinctrl-names = "default";
	pinctrl-0 = <&gmac0_pins &mdio0_pins>;
	phy-handle = <&phy0>;
	phy-mode = "rgmii-id";
	status = "okay";
};

&gmac1 {
	pinctrl-names = "default";
	pinctrl-0 = <&gmac1_pins>;
	phy-handle = <&phy1>;
	phy-mode = "rgmii-id";
	status = "okay";
};

&audio_i2c0 {
	clock-frequency = <100000>;
	pinctrl-names = "default";
	pinctrl-0 = <&aud_i2c0_pa_pins>,
				<&aud_i2c0_pins>;
	status = "okay";

    aud_ioexp: gpio@20 {
        compatible = "awinic,aw9535";
        reg = <0x20>;
        gpio-controller;
        #gpio-cells = <2>;
        ngpios = <16>;
        gpio-line-names =
			"ADC_3V3_EN", "ADC_1V8_EN", "DAC_3V3_EN", "DAC_1V8_EN",  // index 0..3
			"AUDIO_PA_RST1", "AUD_P5", "", "",                       // index 4..7
			"", "", "", "",                                          // index 8..11
			"","","ADC3_INT","ADC2_INT";                             // index 12..15
    };

	es8156_audio_codec: es8156@8 {
		#sound-dai-cells = <0>;
		compatible = "everest,es8156";
		reg = <0x08>;
		sound-name-prefix = "ES8156";
		AVDD-supply = <&reg_aud_dac_3v3>;
		DVDD-supply = <&reg_aud_dac_1v8>;
		PVDD-supply = <&reg_aud_dac_1v8>;
		status = "okay";
	};

	es7210_audio_codec: es7210@40 {  /* connect to I2S2 */
		#sound-dai-cells = <0>;
		compatible = "MicArray_0";
		reg = <0x40>;
		sound-name-prefix = "ES7210";
		MVDD-supply = <&reg_aud_adc_3v3>;
		AVDD-supply = <&reg_aud_adc_3v3>;
		DVDD-supply = <&reg_aud_adc_1v8>;
		PVDD-supply = <&reg_aud_adc_1v8>;
		status = "okay";
	};
};

&i2c0 {
	pinctrl-names = "default";
	pinctrl-0 = <&i2c0_pins>;
	clock-frequency = <100000>;
	i2c-sda-hold-time-ns = <300>;
	i2c-sda-falling-time-ns = <510>;
	i2c-scl-falling-time-ns = <510>;
	status = "okay";

	eeprom@50 {
		compatible = "atmel,24c02";

		reg = <0x50>;
		pagesize = <16>;
	};
};

&i2c1 {
	pinctrl-names = "default";
	pinctrl-0 = <&i2c1_pins>;
	clock-frequency = <100000>;
	i2c-sda-hold-time-ns = <300>;
	i2c-sda-falling-time-ns = <510>;
	i2c-scl-falling-time-ns = <510>;
	status = "okay";

	pcf8563: rtc@51 {
		pinctrl-names = "default";
		pinctrl-0 = <&rtc_pins>;
		compatible = "nxp,pcf8563";
		reg = <0x51>;
		interrupt-parent = <&aogpio>;
		interrupts = <2 IRQ_TYPE_LEVEL_LOW>;
		wakeup-source;
	};
};

&i2c2 {
	pinctrl-names = "default";
	pinctrl-0 = <&i2c2_pins>;
	clock-frequency = <100000>;
	i2c-sda-hold-time-ns = <300>;
	i2c-sda-falling-time-ns = <510>;
	i2c-scl-falling-time-ns = <510>;
	status = "okay";

	wl2866d_0@28 {
		compatible = "willsemi,wl2866d";
		reg = <0x28>;
		status = "okay";

		regulators {
			dvdd1_mipicsi0_reg: dvdd1_mipicsi0 {
				regulator-name = "dvdd1_mipicsi0";
				regulator-min-microvolt = <1000000>;
				regulator-max-microvolt = <1300000>;
			};

			dvdd2_mipicsi0_reg: dvdd2_mipicsi0 {
				regulator-name = "dvdd2_mipicsi0";
				regulator-min-microvolt = <1800000>;
				regulator-max-microvolt = <1800000>;
			};

			avdd1_mipicsi0_reg: avdd1_mipicsi0 {
				regulator-name = "avdd1_mipicsi0";
				regulator-min-microvolt = <2500000>;
				regulator-max-microvolt = <3300000>;
			};

			avdd2_mipicsi0_reg: avdd2_mipicsi0 {
				regulator-name = "avdd2_mipicsi0";
				regulator-min-microvolt = <1800000>;
				regulator-max-microvolt = <1800000>;
			};
		};
	};
};

&i2c3 {
	pinctrl-names = "default";
	pinctrl-0 = <&i2c3_pins>;
	clock-frequency = <100000>;
	i2c-sda-hold-time-ns = <300>;
	i2c-sda-falling-time-ns = <510>;
	i2c-scl-falling-time-ns = <510>;
	status = "okay";

    ioexp2: gpio@20 {
        compatible = "awinic,aw9535";
        reg = <0x20>;
        gpio-controller;
        #gpio-cells = <2>;
        ngpios = <16>;
        gpio-line-names =
			"CSIA_PWREN", "MIPICSIA_RSTN", "MIPICSIA_PWDN", "MIPICSIA_FSIN",   // index 0..3
			"CSIB_PWREN", "MIPICSIB_RSTN", "MIPICSIB_PWDN", "MIPICSIB_FSIN",   // index 4..7
			"", "", "PHY0_EN", "PHY1_EN",                                      // index 8..11
			"WIFI_EN","IRDA_EN_B","FAN_PWR_EN","";                             // index 12..15
    };

	wl2866d_1@28 {
		compatible = "willsemi,wl2866d";
		reg = <0x28>;
		status = "okay";

		regulators {
			dvdd1_mipicsi1_reg: dvdd1_mipicsi1 {
				regulator-name = "dvdd1_mipicsi1";
				regulator-min-microvolt = <1000000>;
				regulator-max-microvolt = <1300000>;
			};

			dvdd2_mipicsi1_reg: dvdd2_mipicsi1 {
				regulator-name = "dvdd2_mipicsi1";
				regulator-min-microvolt = <1800000>;
				regulator-max-microvolt = <1800000>;
			};

			avdd1_mipicsi1_reg: avdd1_mipicsi1 {
				regulator-name = "avdd1_mipicsi1";
				regulator-min-microvolt = <2500000>;
				regulator-max-microvolt = <3300000>;
			};

			avdd2_mipicsi1_reg: avdd2_mipicsi1 {
				regulator-name = "avdd2_mipicsi1";
				regulator-min-microvolt = <1800000>;
				regulator-max-microvolt = <1800000>;
			};
		};
	};
	/* abandoned */
	ioexp3: gpio@18 {
		compatible = "nxp,pca9557";
		reg = <0x18>;
		gpio-controller;
		#gpio-cells = <2>;
		gpio-line-names = "tp0_rst",
				  "",
				  "",
				  "vcc5v_usb",
				  "vdd28_tp0",
				  "vdd33_lcd0",
				  "vdd18_lcd0",
				  "lcd0_reset";
	};
};

&i2c4 {
	pinctrl-names = "default";
	pinctrl-0 = <&i2c4_pins>;
	clock-frequency = <100000>;
	i2c-sda-hold-time-ns = <300>;
	i2c-sda-falling-time-ns = <510>;
	i2c-scl-falling-time-ns = <510>;
	status = "okay";

    ioexp1: gpio@20 {
        compatible = "awinic,aw9535";
        reg = <0x20>;
        gpio-controller;
        #gpio-cells = <2>;
        ngpios = <16>;
        gpio-line-names =
			"DSI0_BL_EN", "DSI0_PWREN", "DSI0_DISP_RST", "DSI0_TP_RST",    // index 0..3
			"DSI1_BL_EN", "DSI1_PWREN", "DSI1_DISP_RST", "DSI1_TP_RST",    // index 4..7
			"FLASH_EN", "FRAM_EN", "RTC_EN", "USB3_VBUS_EN",               // index 8..11
			"USB_OC","DSI1_TS_INT","DSI0_TS_INT","2_0V_Sensor_PG";         // index 12..15
    };
};

&mdio0 {
	phy0: ethernet-phy@1 {
		reg = <1>;
	};

	phy1: ethernet-phy@2 {
		reg = <2>;
	};
};

&uart0 {
	pinctrl-names = "default";
	pinctrl-0 = <&uart0_pins>;
	status = "okay";
};

&uart1 {
	pinctrl-names = "default";
	pinctrl-0 = <&uart1_pins>;
	status = "okay";
};

&uart3 {
	pinctrl-names = "default";
	pinctrl-0 = <&uart3_pins>;
	status = "okay";
};

&uart4 {
	pinctrl-names = "default";
	pinctrl-0 = <&uart4_pins>;
	status = "okay";
};

&usb {
	usb3-vbus-en-gpios = <&ioexp1 11 GPIO_ACTIVE_HIGH>;
	usb3-oc-gpios      = <&ioexp1 12 GPIO_ACTIVE_HIGH>;
	status = "okay";
};

&usb_dwc3 {
	#address-cells = <1>;
	#size-cells = <0>;
	status = "okay";
};

&adc {
	vref-supply = <&reg_vref_1v8>;
	#io-channel-cells = <1>;
	sampling-frequency = <1000000>;
	resolution = <12>;
	status = "okay";
};

&spi {
	num-cs = <1>;
	cs-gpios = <&gpio2 15 0>;
	rx-sample-delay-ns = <10>;
	pinctrl-names = "default";
	pinctrl-0 = <&spi_pins>;
	status = "okay";

	spi_norflash@0 {
		#address-cells = <1>;
		#size-cells = <1>;
		compatible = "winbond,w25q64jwm", "jedec,spi-nor";
		reg = <0>;
		spi-max-frequency = <50000000>;
		w25q,fast-read;
	};
};

&qspi0 {
	num-cs = <1>;
	cs-gpios = <&gpio2 3 0>;
	pinctrl-names = "default";
	pinctrl-0 = <&qspi0_pins>;
	status = "okay";

	spi_norflash@0 {
		#address-cells = <1>;
		#size-cells = <1>;
		compatible = "winbond,w25q64jwm", "jedec,spi-nor";
		reg = <0>;
		spi-max-frequency = <50000000>;
		spi-tx-bus-width = <4>;
		spi-rx-bus-width = <4>;
		w25q,fast-read;
	};

	spi-flash@1 {
		#address-cells = <1>;
		#size-cells = <1>;
		compatible = "spi-nand";
		spi-max-frequency = <100000000>;
		spi-tx-bus-width = <4>;
		spi-rx-bus-width = <4>;
		reg = <1>;

		partition@0 {
			label = "ubi1";
			reg = <0x00000000 0x08000000>;
		};
	};
};

&qspi1 {
	num-cs = <1>;
	cs-gpios = <&gpio0 1 0>;
	pinctrl-names = "default";
	pinctrl-0 = <&qspi1_pins>;
	status = "okay";

	spi-flash@0 {
		#address-cells = <1>;
		#size-cells = <1>;
		compatible = "spi-nand";
		spi-max-frequency = <100000000>;
		spi-tx-bus-width = <4>;
		spi-rx-bus-width = <4>;
		reg = <0>;

		partition@0 {
			label = "ubi1";
			reg = <0x00000000 0x08000000>;
		};
	};
};

&emmc {
	bus-width = <8>;
	max-frequency = <198000000>;
	mmc-hs400-1_8v;
	mmc-hs200-1_8v;
	non-removable;
	no-sdio;
	no-sd;
	status = "okay";
};

&sdio0 {	// SD card
	pinctrl-names = "default";
	pinctrl-0 = <&sdio0_pins>;
	max-frequency = <198000000>;
	cap-sd-highspeed;
	bus-width = <4>;
	sd-uhs-sdr104;
	no-sdio;
	pull_up;
	wprtn_ignore;
	status = "okay";
};

&ap_i2s {
	status = "okay";
};

&i2s1 {
	pinctrl-names = "default";
	pinctrl-0 = <&i2s1_pa_pins>,
				<&i2s1_pins>;
	status = "okay";
};

&isp0 {
	status = "okay";
};

&isp1 {
	status = "okay";
};

&isp_ry0 {
	status = "okay";
};

&dewarp {
	status = "okay";
};

&dec400_isp0 {
	status = "okay";
};

&dec400_isp1 {
	status = "okay";
};

&dec400_isp2 {
	status = "okay";
};

&bm_visys {
	status = "okay";
};

&bm_csi0 {
	status = "okay";
};

&bm_csi1 {
	status = "okay";
};

&bm_csi2 {
	status = "okay";
};

&vidmem {
	status = "okay";
	memory-region = <&vi_mem>;
};

&vi_pre {
	status = "okay";
};
&xtensa_dsp {
	status = "okay";
};

&xtensa_dsp0 {
	status = "okay";
	memory-region = <&dsp0_mem>;
};

&xtensa_dsp1 {
	status = "okay";
	memory-region = <&dsp1_mem>;
};

&gpu {
	status = "okay";
};

&npu {
	vha_clk_rate = <1000000000>;
	status = "okay";
};

&npu_opp_table {
	opp-1000000000 {
		opp-suspend;
	};
};

&dpu_enc1 {
	ports {
		/delete-node/ port@0;
	};
};

&disp1_out {
	remote-endpoint = <&hdmi_tx_in>;
};

&hdmi_tx {
	pinctrl-names = "default";
	pinctrl-0 = <&hdmi_tx_pins>;
	status = "okay";

	port@0 {
		/* input */
		hdmi_tx_in: endpoint {
			remote-endpoint = <&disp1_out>;
		};
	};
};

&eip_28 {
	status = "okay";
};

&dmac0 {
	status = "okay";
};

&dmac2 {
	status = "okay";
};
